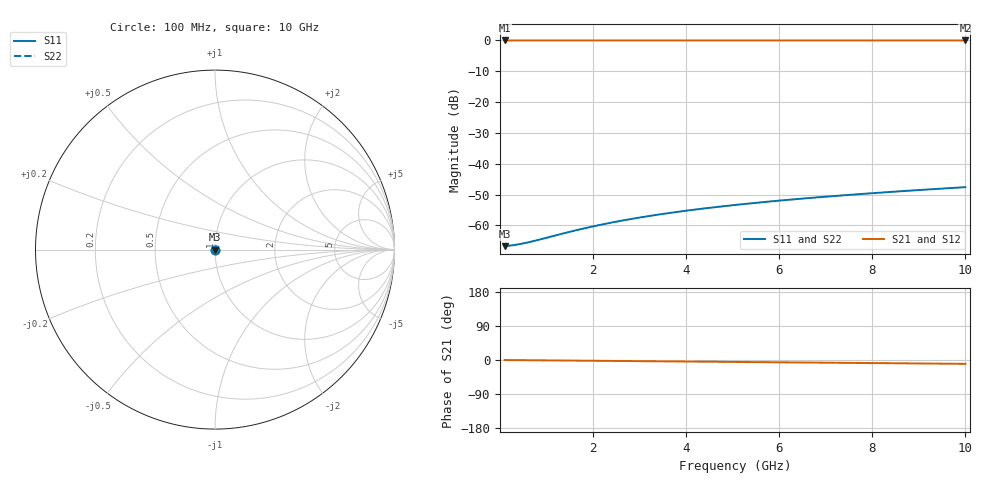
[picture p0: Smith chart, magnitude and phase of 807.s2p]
# Hz S RI R 50.00
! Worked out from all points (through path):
!   100 points, 100 MHz to 10 GHz, reference 50 ohm
!   highest |S21| = 0.00 dB at 100 MHz (marker M1); lowest = 0.0 dB at 10 GHz (marker M2)
!   group delay of S21, straight-line fit = 2.82 ps
!   lowest |S11| = -66.8 dB at 100 MHz (marker M3), VSWR 1.00, Z = 50 + j0.00417 ohm
!   |S11| at or under -10 dB: start of sweep to end of sweep
!   |S22| runs from -66.8 to -47.6 dB; largest |S21 - S12| = 0
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1e8  0.000458 4.16e-05  0.9995 -0.00176  0.9995 -0.00176  0.000458 4.16e-05
2e8  0.00046 8.32e-05  0.9995 -0.00352  0.9995 -0.00352  0.00046 8.32e-05
3e8  0.000462 0.000125  0.9995 -0.00528  0.9995 -0.00528  0.000462 0.000125
4e8  0.000464 0.000166  0.9995 -0.00704  0.9995 -0.00704  0.000464 0.000166
6e8  0.000467 0.000249  0.9995 -0.0106  0.9995 -0.0106  0.000467 0.000249
8e8  0.00047 0.000332  0.9994 -0.0141  0.9994 -0.0141  0.00047 0.000332
1.5e9  0.000482 0.00062  0.9992 -0.0264  0.9992 -0.0264  0.000482 0.00062
1.8e9  0.00049 0.000743  0.999 -0.0317  0.999 -0.0317  0.00049 0.000743
2.2e9  0.000501 0.000906  0.9987 -0.0387  0.9987 -0.0387  0.000501 0.000906
2.6e9  0.000515 0.00107  0.9984 -0.0458  0.9984 -0.0458  0.000515 0.00107
3e9  0.00053 0.00123  0.9981 -0.0528  0.9981 -0.0528  0.00053 0.00123
3.4e9  0.000548 0.00139  0.9977 -0.0599  0.9977 -0.0599  0.000548 0.00139
3.8e9  0.000568 0.00155  0.9972 -0.0669  0.9972 -0.0669  0.000568 0.00155
4.2e9  0.00059 0.00171  0.9967 -0.074  0.9967 -0.074  0.00059 0.00171
4.6e9  0.000614 0.00186  0.9962 -0.081  0.9962 -0.081  0.000614 0.00186
5.1e9  0.000648 0.00206  0.9954 -0.0898  0.9954 -0.0898  0.000648 0.00206
5.9e9  0.000709 0.00237  0.994 -0.104  0.994 -0.104  0.000709 0.00237
6.7e9  0.000779 0.00269  0.9924 -0.1181  0.9924 -0.1181  0.000779 0.00269
7.5e9  0.000858 0.003  0.9906 -0.1322  0.9906 -0.1322  0.000858 0.003
8.4e9  0.000959 0.00336  0.9884 -0.1481  0.9884 -0.1481  0.000959 0.00336
9.2e9  0.00106 0.00367  0.9861 -0.1622  0.9861 -0.1622  0.00106 0.00367
1e10  0.00117 0.004  0.9837 -0.1762  0.9837 -0.1762  0.00117 0.004
